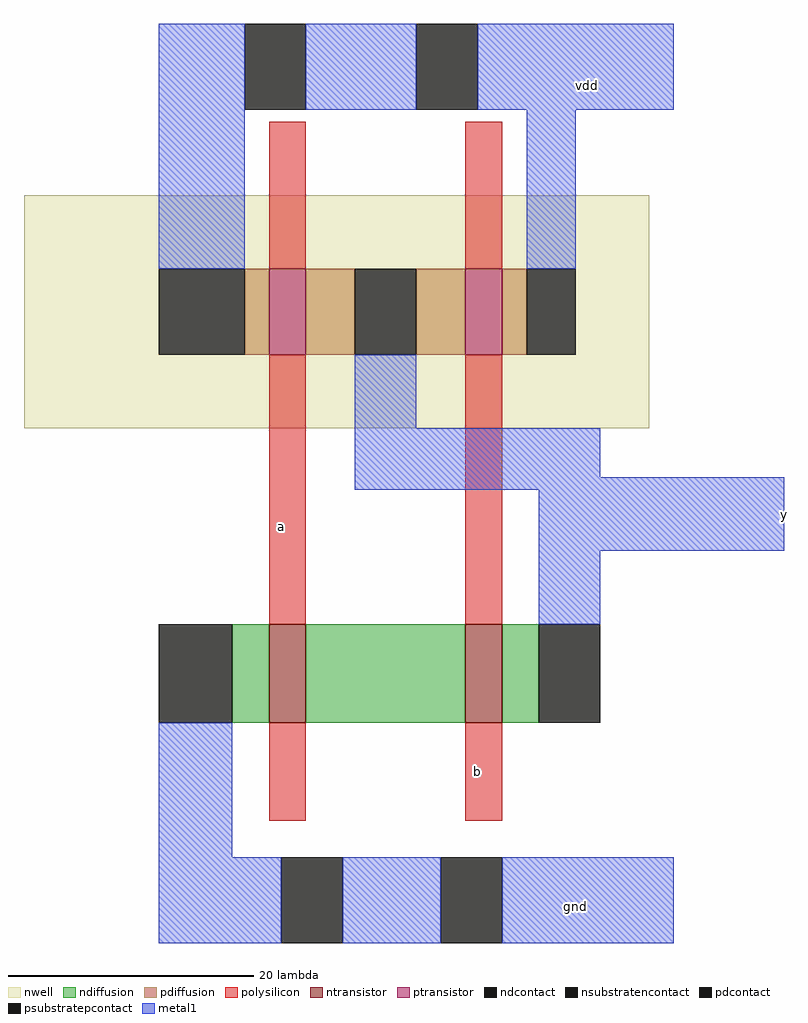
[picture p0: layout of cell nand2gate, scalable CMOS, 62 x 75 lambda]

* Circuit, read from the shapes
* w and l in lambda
.subckt nand2gate a b gnd vdd y
M1 n1 a gnd gnd nfet w=8 l=3
M2 y b n1 gnd nfet w=8 l=3
M3 y a vdd n2 pfet w=7 l=3
M4 vdd b y n2 pfet w=7 l=3
.ends

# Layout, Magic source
magic
tech scmos
<< nwell >>
rect -22 13 29 32
<< ntransistor >>
rect -2 -11 1 -3
rect 14 -11 17 -3
<< ptransistor >>
rect -2 19 1 26
rect 14 19 17 26
<< ndiffusion >>
rect -5 -11 -2 -3
rect 1 -11 14 -3
rect 17 -11 20 -3
<< pdiffusion >>
rect -4 19 -2 26
rect 1 19 5 26
rect 10 19 14 26
rect 17 19 19 26
<< ndcontact >>
rect -11 -11 -5 -3
rect 20 -11 25 -3
<< pdcontact >>
rect -11 19 -4 26
rect 5 19 10 26
rect 19 19 23 26
<< psubstratepcontact >>
rect -1 -29 4 -22
rect 12 -29 17 -22
<< nsubstratencontact >>
rect -4 39 1 46
rect 10 39 15 46
<< polysilicon >>
rect -2 26 1 38
rect 14 26 17 38
rect -2 -3 1 19
rect 14 -3 17 19
rect -2 -19 1 -11
rect 14 -19 17 -11
<< metal1 >>
rect -11 26 -4 46
rect 1 39 10 46
rect 15 39 31 46
rect 19 26 23 39
rect 5 13 10 19
rect 5 9 25 13
rect 5 8 40 9
rect 20 3 40 8
rect 20 -3 25 3
rect -11 -22 -5 -11
rect -11 -29 -1 -22
rect 4 -29 12 -22
rect 17 -29 31 -22
<< labels >>
rlabel metal1 24 41 24 41 5 vdd
rlabel metal1 23 -26 23 -26 1 gnd
rlabel polysilicon -1 5 -1 5 1 a
rlabel polysilicon 15 -15 15 -15 1 b
rlabel metal1 40 3 40 9 7 y
<< end >>
